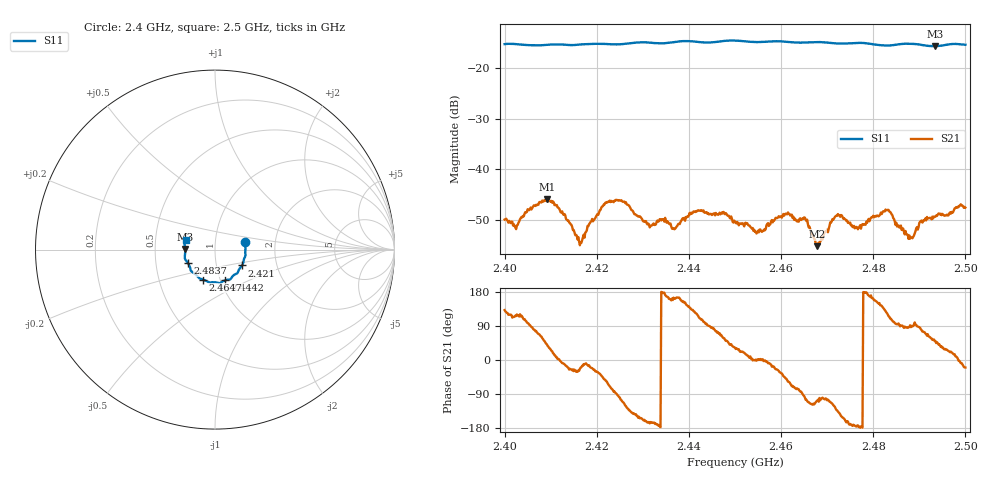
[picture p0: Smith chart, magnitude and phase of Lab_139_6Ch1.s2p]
# Hz S RI R 50
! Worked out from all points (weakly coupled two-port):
!   601 points, 2.4 GHz to 2.5 GHz, reference 50 ohm
!   highest |S21| = -45.89 dB at 2.4092 GHz (marker M1); lowest = -55.2 dB at 2.4678 GHz (marker M2)
!   lowest |S11| = -15.6 dB at 2.4935 GHz (marker M3), VSWR 1.40, Z = 35.8 + j0.2 ohm
!   |S11| at or under -10 dB: start of sweep to end of sweep
!   S12 and S22 are empty: the file has one direction only
!   S11 on the Smith chart (normalised r, x): 2.4 GHz: 1.40, +0.12; 2.421 GHz: 1.33, -0.24; 2.4442 GHz: 1.05, -0.37; 2.4647 GHz: 0.83, -0.29; 2.4837 GHz: 0.73, -0.11; 2.5 GHz: 0.72, +0.08
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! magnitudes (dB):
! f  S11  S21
! 2.4 GHz  -15.2  -49.9
! 2.4023 GHz  -15.2  -51.5
! 2.4092 GHz  -15.3  -45.9
! 2.4167 GHz  -15.3  -54.5
! 2.421 GHz  -15.2  -47.5
! 2.4248 GHz  -15.2  -46.1
! 2.4333 GHz  -15.1  -50.3
! 2.4368 GHz  -14.8  -51.8
! 2.4442 GHz  -14.9  -48.6
! 2.45 GHz  -14.5  -50.3
! 2.4548 GHz  -14.8  -52.4
! 2.461 GHz  -14.7  -48.7
! 2.4647 GHz  -14.9  -49.7
! 2.4667 GHz  -14.8  -52.7
! 2.4678 GHz  -14.8  -55.2
! 2.4722 GHz  -15.1  -49.2
! 2.4765 GHz  -15.0  -51.5
! 2.4833 GHz  -15.5  -48.0
! 2.4837 GHz  -15.5  -48.4
! 2.4882 GHz  -15.1  -53.4
! 2.4935 GHz  -15.6  -49.4
! 2.5 GHz  -15.3  -47.5
